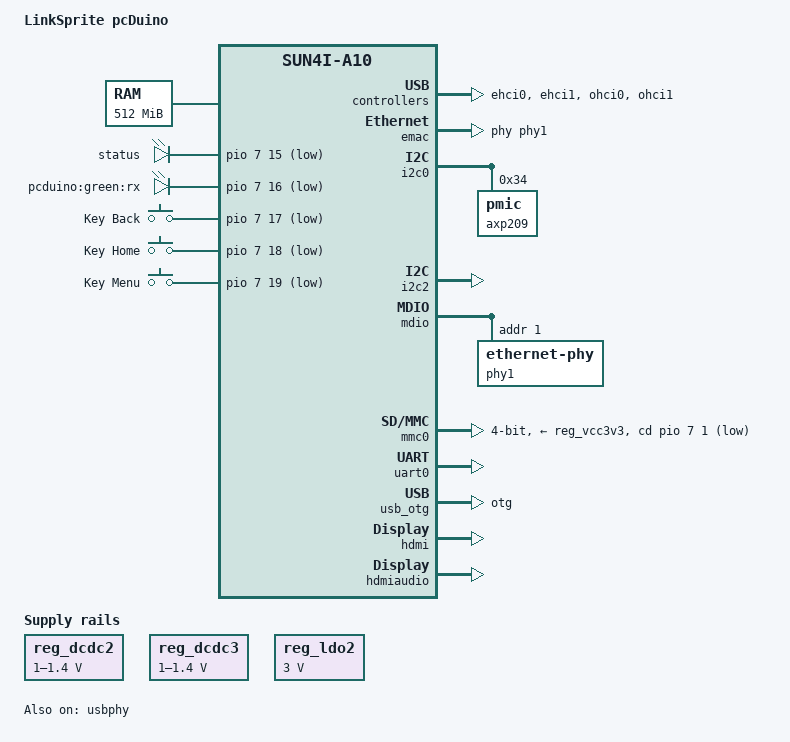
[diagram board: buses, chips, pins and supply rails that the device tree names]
/*
 * Copyright 2014 Zoltan HERPAI
 * Zoltan HERPAI <wigyori@uid0.hu>
 *
 * This file is dual-licensed: you can use it either under the terms
 * of the GPL or the X11 license, at your option. Note that this dual
 * licensing only applies to this file, and not this project as a
 * whole.
 *
 *  a) This file is free software; you can redistribute it and/or
 *     modify it under the terms of the GNU General Public License as
 *     published by the Free Software Foundation; either version 2 of the
 *     License, or (at your option) any later version.
 *
 *     This file is distributed in the hope that it will be useful,
 *     but WITHOUT ANY WARRANTY; without even the implied warranty of
 *     MERCHANTABILITY or FITNESS FOR A PARTICULAR PURPOSE.  See the
 *     GNU General Public License for more details.
 *
 * Or, alternatively,
 *
 *  b) Permission is hereby granted, free of charge, to any person
 *     obtaining a copy of this software and associated documentation
 *     files (the "Software"), to deal in the Software without
 *     restriction, including without limitation the rights to use,
 *     copy, modify, merge, publish, distribute, sublicense, and/or
 *     sell copies of the Software, and to permit persons to whom the
 *     Software is furnished to do so, subject to the following
 *     conditions:
 *
 *     The above copyright notice and this permission notice shall be
 *     included in all copies or substantial portions of the Software.
 *
 *     THE SOFTWARE IS PROVIDED "AS IS", WITHOUT WARRANTY OF ANY KIND,
 *     EXPRESS OR IMPLIED, INCLUDING BUT NOT LIMITED TO THE WARRANTIES
 *     OF MERCHANTABILITY, FITNESS FOR A PARTICULAR PURPOSE AND
 *     NONINFRINGEMENT. IN NO EVENT SHALL THE AUTHORS OR COPYRIGHT
 *     HOLDERS BE LIABLE FOR ANY CLAIM, DAMAGES OR OTHER LIABILITY,
 *     WHETHER IN AN ACTION OF CONTRACT, TORT OR OTHERWISE, ARISING
 *     FROM, OUT OF OR IN CONNECTION WITH THE SOFTWARE OR THE USE OR
 *     OTHER DEALINGS IN THE SOFTWARE.
 */

/dts-v1/;
#include "sun4i-a10.dtsi"
#include "sunxi-common-regulators.dtsi"

#include <dt-bindings/gpio/gpio.h>
#include <dt-bindings/input/input.h>

/ {
	model = "LinkSprite pcDuino";
	compatible = "linksprite,a10-pcduino", "allwinner,sun4i-a10";

	aliases {
		serial0 = &uart0;
	};

	memory@0 {
		device_type = "memory";
		reg = <0x40000000 0x20000000>;
	};

	chosen {
		stdout-path = "serial0:115200n8";
	};

	fb: fb@01e60000 {
		compatible = "allwinner,sun4i-a10-fb";
		reg = <0x01e60000 0x10000>,	/* DEBE0 */
		<0x01c0c000 0x1000>,	/* LCD0(TCON0) */
		<0x01e00000 0x20000>;	/* DEFE0 */
		reset-names = "de_be", "lcd", "de_fe";
		resets = <&ccu RST_DE_BE0>, <&ccu RST_TCON0>, <&ccu RST_DE_FE0>;
		clocks = <&ccu CLK_AHB_DE_BE0>, <&ccu CLK_AHB_DE_FE0>, 
			<&ccu CLK_AHB_LCD0>,
			<&ccu CLK_DRAM_DE_BE0>, <&ccu CLK_DRAM_DE_FE0>, 
			<&ccu CLK_DE_BE0>, <&ccu CLK_DE_FE0>,
			<&ccu CLK_LCD0_CH1>, <&ccu CLK_PLL3>, <&ccu CLK_PLL5>;
		clock-names = "ahb_de_be", "ahb_de_fe",
			"ahb_lcd",
			"dram_de_be", "dram_de_fe",
			"de_be", "de_fe",
			"lcd_lcd0_ch1", "pll3", "pll5";
	};

	leds {
		compatible = "gpio-leds";

		tx {
/*			label = "pcduino:green:tx";*/
			label = "status";
			gpios = <&pio 7 15 GPIO_ACTIVE_LOW>;
		};

		rx {
			label = "pcduino:green:rx";
			gpios = <&pio 7 16 GPIO_ACTIVE_LOW>;
		};
	};

	gpio-keys {
		compatible = "gpio-keys";
		#address-cells = <1>;
		#size-cells = <0>;

		back {
			label = "Key Back";
			linux,code = <KEY_BACK>;
			gpios = <&pio 7 17 GPIO_ACTIVE_LOW>;
		};

		home {
			label = "Key Home";
			linux,code = <KEY_HOME>;
			gpios = <&pio 7 18 GPIO_ACTIVE_LOW>;
		};

		menu {
			label = "Key Menu";
			linux,code = <KEY_MENU>;
			gpios = <&pio 7 19 GPIO_ACTIVE_LOW>;
		};
	};
};

&cpu0 {
	cpu-supply = <&reg_dcdc2>;
};

&ehci0 {
	status = "okay";
};

&ehci1 {
	status = "okay";
};

&emac {
	phy = <&phy1>;
	status = "okay";
};

&emac_sram {
	status = "okay";
};

&i2c0 {
	status = "okay";

	axp209: pmic@34 {
		reg = <0x34>;
		interrupts = <0>;
	};
};

&i2c2 {
	status = "okay";
};

&mdio {
	status = "okay";

	phy1: ethernet-phy@1 {
		reg = <1>;
	};
};

&mmc0 {
	vmmc-supply = <&reg_vcc3v3>;
	bus-width = <4>;
	cd-gpios = <&pio 7 1 GPIO_ACTIVE_LOW>; /* PH1 */
	status = "okay";
};

&ohci0 {
	status = "okay";
};

&ohci1 {
	status = "okay";
};

&otg_sram {
	status = "okay";
};

&pio {
	usb0_id_detect_pin: usb0-id-detect-pin {
		pins = "PH4";
		function = "gpio_in";
		bias-pull-up;
	};
};

#include "axp209.dtsi"

&reg_dcdc2 {
	regulator-always-on;
	regulator-min-microvolt = <1000000>;
	regulator-max-microvolt = <1400000>;
	regulator-name = "vdd-cpu";
};

&reg_dcdc3 {
	regulator-always-on;
	regulator-min-microvolt = <1000000>;
	regulator-max-microvolt = <1400000>;
	regulator-name = "vdd-int-dll";
};

&reg_ldo1 {
	regulator-name = "vdd-rtc";
};

&reg_ldo2 {
	regulator-always-on;
	regulator-min-microvolt = <3000000>;
	regulator-max-microvolt = <3000000>;
	regulator-name = "avcc";
};

&uart0 {
	pinctrl-names = "default";
	pinctrl-0 = <&uart0_pb_pins>;
	status = "okay";
};

&usb_otg {
	dr_mode = "otg";
	status = "okay";
};

&hdmi {
	status = "okay";
};

&hdmiaudio {
	status = "okay";
};

&usbphy {
	pinctrl-names = "default";
	pinctrl-0 = <&usb0_id_detect_pin>;
	usb0_id_det-gpio = <&pio 7 4 GPIO_ACTIVE_HIGH>; /* PH4 */
	usb1_vbus-supply = <&reg_vcc5v0>; /* USB1 VBUS is always on */
	usb2_vbus-supply = <&reg_vcc5v0>; /* USB2 VBUS is always on */
	status = "okay";
};
